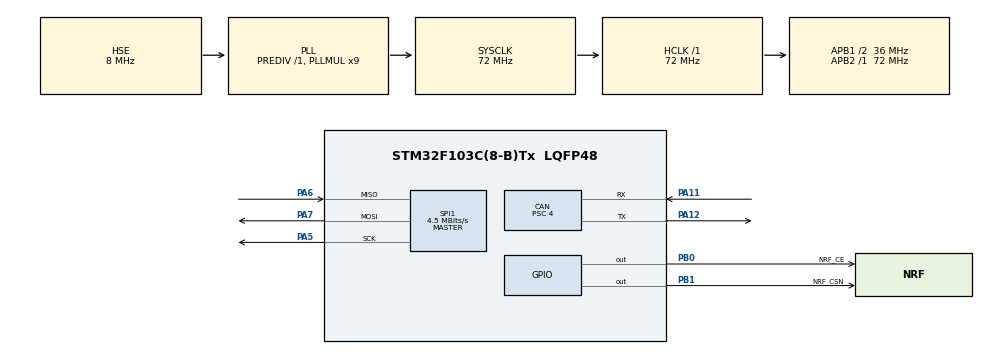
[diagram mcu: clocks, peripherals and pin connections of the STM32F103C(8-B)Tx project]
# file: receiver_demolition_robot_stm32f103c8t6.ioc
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CAN.ABOM=ENABLE
CAN.AWUM=DISABLE
CAN.BS1=CAN_BS1_15TQ
CAN.BS2=CAN_BS2_2TQ
CAN.CalculateBaudRate=500000
CAN.CalculateTimeBit=2000
CAN.CalculateTimeQuantum=111.11111111111111
CAN.NART=DISABLE
CAN.Prescaler=4
CAN.RFLM=ENABLE
CAN.SJW=CAN_SJW_1TQ
CAN.TTCM=DISABLE
CAN.TXFP=ENABLE
Mcu.Family=STM32F1
Mcu.Name=STM32F103C(8-B)Tx
Mcu.Package=LQFP48
NVIC.PriorityGroup=NVIC_PRIORITYGROUP_4
NVIC.TIM4_IRQn=true\:0\:0\:false\:false\:true\:true\:true\:true
NVIC.USB_HP_CAN1_TX_IRQn=true\:0\:0\:false\:false\:true\:true\:true\:true
NVIC.USB_LP_CAN1_RX0_IRQn=true\:0\:0\:false\:false\:true\:true\:true\:true
PA11.Mode=CAN_Activate
PA11.Signal=CAN_RX
PA12.Mode=CAN_Activate
PA12.Signal=CAN_TX
PA13.Mode=Serial_Wire
PA13.Signal=SYS_JTMS-SWDIO
PA14.Mode=Serial_Wire
PA14.Signal=SYS_JTCK-SWCLK
PA5.Mode=Full_Duplex_Master
PA5.Signal=SPI1_SCK
PA6.Mode=Full_Duplex_Master
PA6.Signal=SPI1_MISO
PA7.Mode=Full_Duplex_Master
PA7.Signal=SPI1_MOSI
PB0.GPIO_Label=NRF_CE
PB0.PinState=GPIO_PIN_RESET
PB0.Signal=GPIO_Output
PB1.GPIO_Label=NRF_CSN
PB1.PinState=GPIO_PIN_SET
PB1.Signal=GPIO_Output
PD0-OSC_IN.Mode=HSE-External-Oscillator
PD0-OSC_IN.Signal=RCC_OSC_IN
PD1-OSC_OUT.Mode=HSE-External-Oscillator
PD1-OSC_OUT.Signal=RCC_OSC_OUT
ProjectManager.HeapSize=0x200
ProjectManager.StackSize=0x400
ProjectManager.TargetToolchain=STM32CubeIDE
RCC.AHBFreq_Value=72000000
RCC.APB1CLKDivider=RCC_HCLK_DIV2
RCC.APB1Freq_Value=36000000
RCC.APB1TimFreq_Value=72000000
RCC.APB2Freq_Value=72000000
RCC.APB2TimFreq_Value=72000000
RCC.HCLKFreq_Value=72000000
RCC.PLLMUL=RCC_PLL_MUL9
RCC.PLLSourceVirtual=RCC_PLLSOURCE_HSE
RCC.SYSCLKFreq_VALUE=72000000
RCC.SYSCLKSource=RCC_SYSCLKSOURCE_PLLCLK
RCC.USBFreq_Value=72000000
SPI1.BaudRatePrescaler=SPI_BAUDRATEPRESCALER_16
SPI1.CLKPhase=SPI_PHASE_1EDGE
SPI1.CLKPolarity=SPI_POLARITY_LOW
SPI1.CalculateBaudRate=4.5 MBits/s
SPI1.DataSize=SPI_DATASIZE_8BIT
SPI1.Direction=SPI_DIRECTION_2LINES
SPI1.FirstBit=SPI_FIRSTBIT_MSB
SPI1.Mode=SPI_MODE_MASTER
SPI1.VirtualType=VM_MASTER
TIM4.AutoReloadPreload=TIM_AUTORELOAD_PRELOAD_DISABLE
TIM4.Period=999
TIM4.Prescaler=71
VP_TIM4_VS_ClockSourceINT.Mode=Internal
board=custom

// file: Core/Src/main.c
/* USER CODE BEGIN Header */
/**
  ******************************************************************************
  * @file           : main.c
  * @brief          : Main program body
  ******************************************************************************
  * @attention
  *
  * Copyright (c) 2026 STMicroelectronics.
  * All rights reserved.
  *
  * This software is licensed under terms that can be found in the LICENSE file
  * in the root directory of this software component.
  * If no LICENSE file comes with this software, it is provided AS-IS.
  *
  ******************************************************************************
  */
/* USER CODE END Header */
#include "main.h"

/* USER CODE BEGIN Includes */
#include "CO_app_STM32.h"
#include "OD.h"
#include "ctrl_link.h"
#include "nrf24.h"

/* USER CODE END Includes */

CAN_HandleTypeDef hcan;

SPI_HandleTypeDef hspi1;

TIM_HandleTypeDef htim4;

/* USER CODE BEGIN PV */
CANopenNodeSTM32 canOpenNodeSTM32;

/* USER CODE END PV */

void SystemClock_Config(void);
static void MX_GPIO_Init(void);
static void MX_CAN_Init(void);
static void MX_SPI1_Init(void);
static void MX_TIM4_Init(void);

/* USER CODE BEGIN 0 */
/* 1 ms timer interrupt -> CANopenNode tmrThread (RPDO/TPDO/SYNC processing). */
void HAL_TIM_PeriodElapsedCallback(TIM_HandleTypeDef* htim)
{
  if (canopenNodeSTM32 != NULL && htim == canopenNodeSTM32->timerHandle)
  {
    canopen_app_interrupt();
  }
}

/* USER CODE END 0 */

int main(void)
{

  /* MCU Configuration--------------------------------------------------------*/

  /* Reset of all peripherals, Initializes the Flash interface and the Systick. */
  HAL_Init();

  /* Configure the system clock */
  SystemClock_Config();

  /* Initialize all configured peripherals */
  MX_GPIO_Init();
  MX_CAN_Init();
  MX_SPI1_Init();
  MX_TIM4_Init();
  /* USER CODE BEGIN 2 */
  /* ---- CANopen (bridge = Node-ID 1, sends TPDO1) ----
   * CAN, SPI1, TIM4 and the NRF24 CE/CSN pins are already initialised above by
   * the CubeMX-generated MX_*_Init() calls, so only the stack is wired up here. */
  canOpenNodeSTM32.CANHandle = &hcan;
  canOpenNodeSTM32.HWInitFunction = MX_CAN_Init;
  canOpenNodeSTM32.timerHandle = &htim4;
  canOpenNodeSTM32.desiredNodeID = CTRL_LINK_BRIDGE_NODE_ID;
  canOpenNodeSTM32.baudrate = CTRL_LINK_BITRATE_KBPS;
  canopen_app_init(&canOpenNodeSTM32);

  /* ---- NRF24 receive side (radio link from the transmitter) ---- */
  NRF24_Init(&hspi1, NRF_CE_GPIO_Port, NRF_CE_Pin, NRF_CSN_GPIO_Port, NRF_CSN_Pin);

  /* At COLD power-on the NRF24 module's supply can still be ramping when the
   * MCU gets here, so a single Configure() fails silently and the radio never
   * comes up (symptom: receiver needs its reset button pressed once before
   * the link works - an MCU-only reset retries while the module is already
   * powered). Configure() verifies its CONFIG readback, so retry until it
   * reports success. Boot-time only; no effect on the running loop. */
  for (uint8_t attempt = 0; attempt < 10; attempt++)
  {
    if (NRF24_Configure())
    {
      break;
    }
    HAL_Delay(100);
  }
  NRF24_StartListening();

  /* USER CODE END 2 */

  /* Infinite loop */
  while (1)
  {

    /* USER CODE BEGIN 3 */
    /* ---- Forward the NRF24 radio packet onto the CAN bus (OD 0x2000) ----
     * The 8-byte radio payload has the exact byte/bit layout of ctrl_link.h,
     * so it is copied straight into the TPDO1-mapped process data and the
     * control board (RPDO1 consumer) decodes it just like an NRF24 packet.
     * TPDO1 auto-transmits every 50 ms via its event timer.
     *
     * If the radio link drops for >500 ms we publish an all-zero packet
     * (S0=0 -> emergency, motor_active=0) so the robot fails safe instead of
     * latching the last command. */
    static uint32_t last_rf_ms = 0;
    uint8_t d[8];
    uint8_t have_packet = 0;

    if (NRF24_IsDataAvailable() && NRF24_GetRawPayload(d))
    {
      have_packet = 1;
      last_rf_ms = HAL_GetTick();
    }
    else if ((HAL_GetTick() - last_rf_ms) >= 500u)
    {
      for (int i = 0; i < 8; i++) { d[i] = 0; }   /* radio lost -> safe packet */
      have_packet = 1;
    }

    if (have_packet && canopenNodeSTM32 != NULL && canopenNodeSTM32->canOpenStack != NULL)
    {
      CO_LOCK_OD(canopenNodeSTM32->canOpenStack->CANmodule);
      for (int i = 0; i < 8; i++) { OD_RAM.x2000_controlData[i] = d[i]; }
      CO_UNLOCK_OD(canopenNodeSTM32->canOpenStack->CANmodule);
    }

    /* === CAN connection self-heal ===
     * The bridge knows the control board (Node-ID 2) is connected by consuming its
     * CANopen heartbeat (OD 0x1016). If the link was up and has now been lost for
     * >2 s, do a full CANopen communication reset to clear any stuck CAN state so it
     * reconnects by itself (backup to the TX-abort handling in the CAN driver). */
    {
      uint8_t link_alive = 0;
      CO_t* co = (canopenNodeSTM32 != NULL) ? canopenNodeSTM32->canOpenStack : NULL;
      if (co != NULL && co->HBcons != NULL && co->HBcons->monitoredNodes != NULL)
      {
        link_alive = (co->HBcons->monitoredNodes[0].HBstate == CO_HBconsumer_ACTIVE);
      }

      static uint8_t  was_up  = 0;
      static uint32_t lost_ms = 0;
      if (link_alive) { was_up = 1; lost_ms = 0; }
      else if (was_up)
      {
        uint32_t tnow = HAL_GetTick();
        if (lost_ms == 0u) { lost_ms = tnow; }
        else if ((tnow - lost_ms) >= 2000u) { lost_ms = tnow; canopen_app_resetCommunication(); }
      }
    }

    canopen_app_process();
  }
  /* USER CODE END 3 */
}

void SystemClock_Config(void)
{
  RCC_OscInitTypeDef RCC_OscInitStruct = {0};
  RCC_ClkInitTypeDef RCC_ClkInitStruct = {0};

  /** Initializes the RCC Oscillators according to the specified parameters
  * in the RCC_OscInitTypeDef structure.
  */
  RCC_OscInitStruct.OscillatorType = RCC_OSCILLATORTYPE_HSE;
  RCC_OscInitStruct.HSEState = RCC_HSE_ON;
  RCC_OscInitStruct.HSEPredivValue = RCC_HSE_PREDIV_DIV1;
  RCC_OscInitStruct.HSIState = RCC_HSI_ON;
  RCC_OscInitStruct.PLL.PLLState = RCC_PLL_ON;
  RCC_OscInitStruct.PLL.PLLSource = RCC_PLLSOURCE_HSE;
  RCC_OscInitStruct.PLL.PLLMUL = RCC_PLL_MUL9;
  if (HAL_RCC_OscConfig(&RCC_OscInitStruct) != HAL_OK)
  {
    Error_Handler();
  }

  /** Initializes the CPU, AHB and APB buses clocks
  */
  RCC_ClkInitStruct.ClockType = RCC_CLOCKTYPE_HCLK|RCC_CLOCKTYPE_SYSCLK
                              |RCC_CLOCKTYPE_PCLK1|RCC_CLOCKTYPE_PCLK2;
  RCC_ClkInitStruct.SYSCLKSource = RCC_SYSCLKSOURCE_PLLCLK;
  RCC_ClkInitStruct.AHBCLKDivider = RCC_SYSCLK_DIV1;
  RCC_ClkInitStruct.APB1CLKDivider = RCC_HCLK_DIV2;
  RCC_ClkInitStruct.APB2CLKDivider = RCC_HCLK_DIV1;

  if (HAL_RCC_ClockConfig(&RCC_ClkInitStruct, FLASH_LATENCY_2) != HAL_OK)
  {
    Error_Handler();
  }
}

static void MX_CAN_Init(void)
{

  hcan.Instance = CAN1;
  hcan.Init.Prescaler = 4;
  hcan.Init.Mode = CAN_MODE_NORMAL;
  hcan.Init.SyncJumpWidth = CAN_SJW_1TQ;
  hcan.Init.TimeSeg1 = CAN_BS1_15TQ;
  hcan.Init.TimeSeg2 = CAN_BS2_2TQ;
  hcan.Init.TimeTriggeredMode = DISABLE;
  hcan.Init.AutoBusOff = ENABLE;
  hcan.Init.AutoWakeUp = DISABLE;
  hcan.Init.AutoRetransmission = DISABLE;
  hcan.Init.ReceiveFifoLocked = ENABLE;
  hcan.Init.TransmitFifoPriority = ENABLE;
  if (HAL_CAN_Init(&hcan) != HAL_OK)
  {
    Error_Handler();
  }

}

static void MX_SPI1_Init(void)
{

  /* SPI1 parameter configuration*/
  hspi1.Instance = SPI1;
  hspi1.Init.Mode = SPI_MODE_MASTER;
  hspi1.Init.Direction = SPI_DIRECTION_2LINES;
  hspi1.Init.DataSize = SPI_DATASIZE_8BIT;
  hspi1.Init.CLKPolarity = SPI_POLARITY_LOW;
  hspi1.Init.CLKPhase = SPI_PHASE_1EDGE;
  hspi1.Init.NSS = SPI_NSS_SOFT;
  hspi1.Init.BaudRatePrescaler = SPI_BAUDRATEPRESCALER_16;
  hspi1.Init.FirstBit = SPI_FIRSTBIT_MSB;
  hspi1.Init.TIMode = SPI_TIMODE_DISABLE;
  hspi1.Init.CRCCalculation = SPI_CRCCALCULATION_DISABLE;
  hspi1.Init.CRCPolynomial = 10;
  if (HAL_SPI_Init(&hspi1) != HAL_OK)
  {
    Error_Handler();
  }

}

static void MX_TIM4_Init(void)
{

  TIM_ClockConfigTypeDef sClockSourceConfig = {0};
  TIM_MasterConfigTypeDef sMasterConfig = {0};

  htim4.Instance = TIM4;
  htim4.Init.Prescaler = 71;
  htim4.Init.CounterMode = TIM_COUNTERMODE_UP;
  htim4.Init.Period = 999;
  htim4.Init.ClockDivision = TIM_CLOCKDIVISION_DIV1;
  htim4.Init.AutoReloadPreload = TIM_AUTORELOAD_PRELOAD_DISABLE;
  if (HAL_TIM_Base_Init(&htim4) != HAL_OK)
  {
    Error_Handler();
  }
  sClockSourceConfig.ClockSource = TIM_CLOCKSOURCE_INTERNAL;
  if (HAL_TIM_ConfigClockSource(&htim4, &sClockSourceConfig) != HAL_OK)
  {
    Error_Handler();
  }
  sMasterConfig.MasterOutputTrigger = TIM_TRGO_RESET;
  sMasterConfig.MasterSlaveMode = TIM_MASTERSLAVEMODE_DISABLE;
  if (HAL_TIMEx_MasterConfigSynchronization(&htim4, &sMasterConfig) != HAL_OK)
  {
    Error_Handler();
  }

}

static void MX_GPIO_Init(void)
{
  GPIO_InitTypeDef GPIO_InitStruct = {0};

  /* GPIO Ports Clock Enable */
  __HAL_RCC_GPIOD_CLK_ENABLE();
  __HAL_RCC_GPIOA_CLK_ENABLE();
  __HAL_RCC_GPIOB_CLK_ENABLE();

  /*Configure GPIO pin Output Level */
  HAL_GPIO_WritePin(NRF_CE_GPIO_Port, NRF_CE_Pin, GPIO_PIN_RESET);

  /*Configure GPIO pin Output Level */
  HAL_GPIO_WritePin(NRF_CSN_GPIO_Port, NRF_CSN_Pin, GPIO_PIN_SET);

  /*Configure GPIO pins : NRF_CE_Pin NRF_CSN_Pin */
  GPIO_InitStruct.Pin = NRF_CE_Pin|NRF_CSN_Pin;
  GPIO_InitStruct.Mode = GPIO_MODE_OUTPUT_PP;
  GPIO_InitStruct.Pull = GPIO_NOPULL;
  GPIO_InitStruct.Speed = GPIO_SPEED_FREQ_LOW;
  HAL_GPIO_Init(GPIOB, &GPIO_InitStruct);

}

void Error_Handler(void)
{
  __disable_irq();
  while (1)
  {
  }
}
